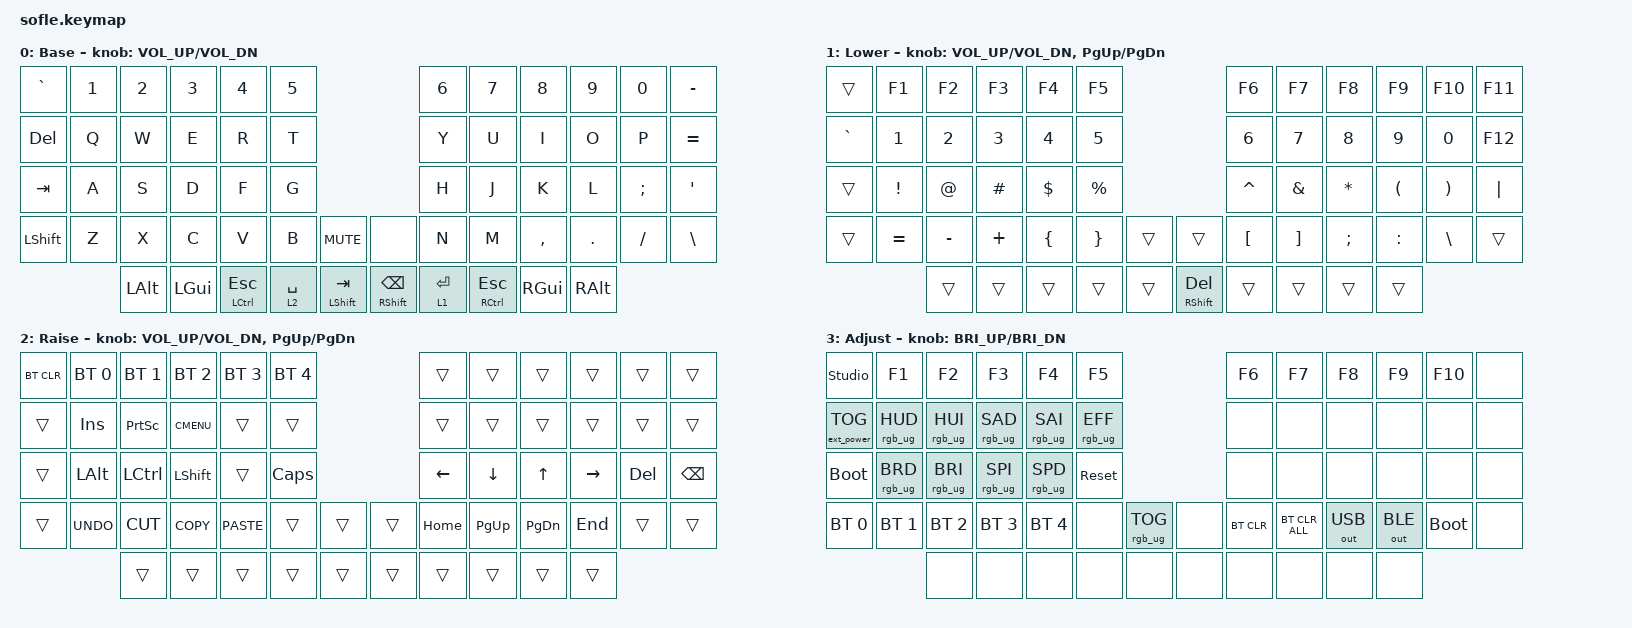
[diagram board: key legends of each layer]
/*
 * Sofle FT keymap
 *
 * 58 keys (5+1 thumb keys per half), both encoders, per-key RGB (30 LEDs/side)
 * 4 layers: BASE, LOWER, RAISE, ADJUST (LOWER+RAISE)
 * Compatible with OLED and nice!view (firmware is built separately for both)
 * Compatible with ZMK Studio
 */

#include <behaviors.dtsi>
#include <dt-bindings/zmk/keys.h>
#include <dt-bindings/zmk/bt.h>
#include <dt-bindings/zmk/rgb.h>
#include <dt-bindings/zmk/outputs.h>
#include <dt-bindings/zmk/ext_power.h>

#define BASE   0
#define LOWER  1
#define RAISE  2
#define ADJUST 3

/*
 * Override chain-length: the Sofle shield defaults to 36 (6 underglow + 30 per-key).
 * We do not use underglow - only 30 per-key LEDs per side.
 */
&led_strip {
    chain-length = <30>;
};

/*
 * Enable both encoders - the shield leaves them "disabled" by default.
 * Each half enables its own encoder at runtime, so both are declared as okay.
 * ZMK will select the appropriate one for each side.
 */
&left_encoder {
    status = "okay";
};

&right_encoder {
    status = "okay";
};

/ {
    // ADJUST activates when both LOWER and RAISE are held.

    conditional_layers {
        compatible = "zmk,conditional-layers";

        adjust_layer {
            if-layers = <LOWER RAISE>;
            then-layer = <ADJUST>;
        };
    };

    keymap {
        compatible = "zmk,keymap";

        default_layer {
            display-name = "Base";

            bindings = <
&kp GRAVE   &kp N1  &kp N2    &kp N3        &kp N4            &kp N5                                               &kp N6                  &kp N7            &kp N8         &kp N9    &kp N0    &kp MINUS
&kp DELETE  &kp Q   &kp W     &kp E         &kp R             &kp T                                                &kp Y                   &kp U             &kp I          &kp O     &kp P     &kp EQUAL
&kp TAB     &kp A   &kp S     &kp D         &kp F             &kp G                                                &kp H                   &kp J             &kp K          &kp L     &kp SEMI  &kp SQT
&kp LSHFT   &kp Z   &kp X     &kp C         &kp V             &kp B                 &kp C_MUTE    &none            &kp N                   &kp M             &kp COMMA      &kp DOT   &kp FSLH  &kp BACKSLASH
                    &kp LALT  &kp LEFT_GUI  &mt LCTRL ESCAPE  &lt 2 SPACE  &mt LEFT_SHIFT TAB     &mt RIGHT_SHIFT BACKSPACE  &lt 1 RETURN  &mt RCTRL ESCAPE  &kp RIGHT_GUI  &kp RALT
            >;

            // Encoder: left firmware uses volume, right firmware uses page movement.

            sensor-bindings = <&inc_dec_kp C_VOL_UP C_VOL_DN>;
        };

        lower_layer {
            display-name = "Lower";
            bindings = <
&trans     &kp F1     &kp F2     &kp F3    &kp F4    &kp F5                       &kp F6     &kp F7    &kp F8     &kp F9     &kp F10   &kp F11
&kp GRAVE  &kp N1     &kp N2     &kp N3    &kp N4    &kp N5                       &kp N6     &kp N7    &kp N8     &kp N9     &kp N0    &kp F12
&trans     &kp EXCL   &kp AT     &kp HASH  &kp DLLR  &kp PRCNT                    &kp CARET  &kp AMPS  &kp ASTRK  &kp LPAR   &kp RPAR  &kp PIPE
&trans     &kp EQUAL  &kp MINUS  &kp PLUS  &kp LBRC  &kp RBRC   &trans    &trans  &kp LBKT   &kp RBKT  &kp SEMI   &kp COLON  &kp BSLH  &trans
                      &trans     &trans    &trans    &trans     &trans    &mt RIGHT_SHIFT DELETE   &trans     &trans    &trans     &trans
            >;

            sensor-bindings = <&inc_dec_kp C_VOL_UP C_VOL_DN &inc_dec_kp PG_UP PG_DN>;
        };

        raise_layer {
            display-name = "Raise";
            bindings = <
&bt BT_CLR  &bt BT_SEL 0  &bt BT_SEL 1  &bt BT_SEL 2  &bt BT_SEL 3  &bt BT_SEL 4                    &trans    &trans         &trans       &trans     &trans   &trans
&trans      &kp INS       &kp PSCRN     &kp K_CMENU   &trans        &trans                          &trans    &trans         &trans       &trans     &trans   &trans
&trans      &kp LALT      &kp LCTRL     &kp LSHFT     &trans        &kp CLCK                        &kp LEFT  &kp DOWN       &kp UP       &kp RIGHT  &kp DEL  &kp BSPC
&trans      &kp K_UNDO    &kp K_CUT     &kp K_COPY    &kp K_PASTE   &trans        &trans    &trans  &kp HOME  &kp PAGE_UP  &kp PAGE_DOWN  &kp END    &trans   &trans
                          &trans        &trans        &trans        &trans        &trans    &trans  &trans    &trans         &trans       &trans
            >;

            sensor-bindings = <&inc_dec_kp C_VOL_UP C_VOL_DN &inc_dec_kp PG_UP PG_DN>;
        };

        adjust_layer {
            display-name = "Adjust";

            // ╭─────────┬─────────┬─────────┬─────────┬─────────┬─────────╮                   ╭──────┬──────┬──────┬──────┬──────┬───────╮
            // │ STUDIO  │   F1    │   F2    │   F3    │   F4    │   F5    │                   │  F6  │  F7  │  F8  │  F9  │ F10  │       │
            // │ EXTPWR  │ RGB_HUD │ RGB_HUI │ RGB_SAD │ RGB_SAI │ RGB_EFF │                   │      │      │      │      │      │       │
            // │ BOOTLDR │ RGB_BRD │ RGB_BRI │ RGB_SPI │ RGB_SPD │ SYS RST │                   │      │      │      │      │      │       │
            // │  BT0    │  BT1    │  BT2    │  BT3    │  BT4    │         │ RGB_TOG │ │       │ BTCLR│BTCLRA│  USB │  BLE │ BOOT │       │
            //                     │         │         │         │         │         │ │       │      │      │      │      │

            bindings = <
&studio_unlock     &kp F1           &kp F2           &kp F3           &kp F4           &kp F5                                     &kp F6      &kp F7          &kp F8        &kp F9        &kp F10      &none
&ext_power EP_TOG  &rgb_ug RGB_HUD  &rgb_ug RGB_HUI  &rgb_ug RGB_SAD  &rgb_ug RGB_SAI  &rgb_ug RGB_EFF                            &none       &none           &none         &none         &none        &none
&bootloader        &rgb_ug RGB_BRD  &rgb_ug RGB_BRI  &rgb_ug RGB_SPI  &rgb_ug RGB_SPD  &sys_reset                                 &none       &none           &none         &none         &none        &none
&bt BT_SEL 0       &bt BT_SEL 1     &bt BT_SEL 2     &bt BT_SEL 3     &bt BT_SEL 4     &none            &rgb_ug RGB_TOG    &none  &bt BT_CLR  &bt BT_CLR_ALL  &out OUT_USB  &out OUT_BLE  &bootloader  &none
                                    &none            &none            &none            &none            &none              &none  &none       &none           &none         &none
            >;

            // Encoder: left firmware uses brightness, right firmware uses volume.

            sensor-bindings = <&inc_dec_kp C_BRI_UP C_BRI_DN>;
        };
    };
};

#ifdef SHIELD_SOFLE_RIGHT
&default_layer {
    sensor-bindings = <&inc_dec_kp PG_UP PG_DN>;
};

&lower_layer {
    sensor-bindings = <&inc_dec_kp PG_UP PG_DN>;
};

&raise_layer {
    sensor-bindings = <&inc_dec_kp PG_UP PG_DN>;
};

&adjust_layer {
    sensor-bindings = <&inc_dec_kp C_VOL_UP C_VOL_DN>;
};
#endif
